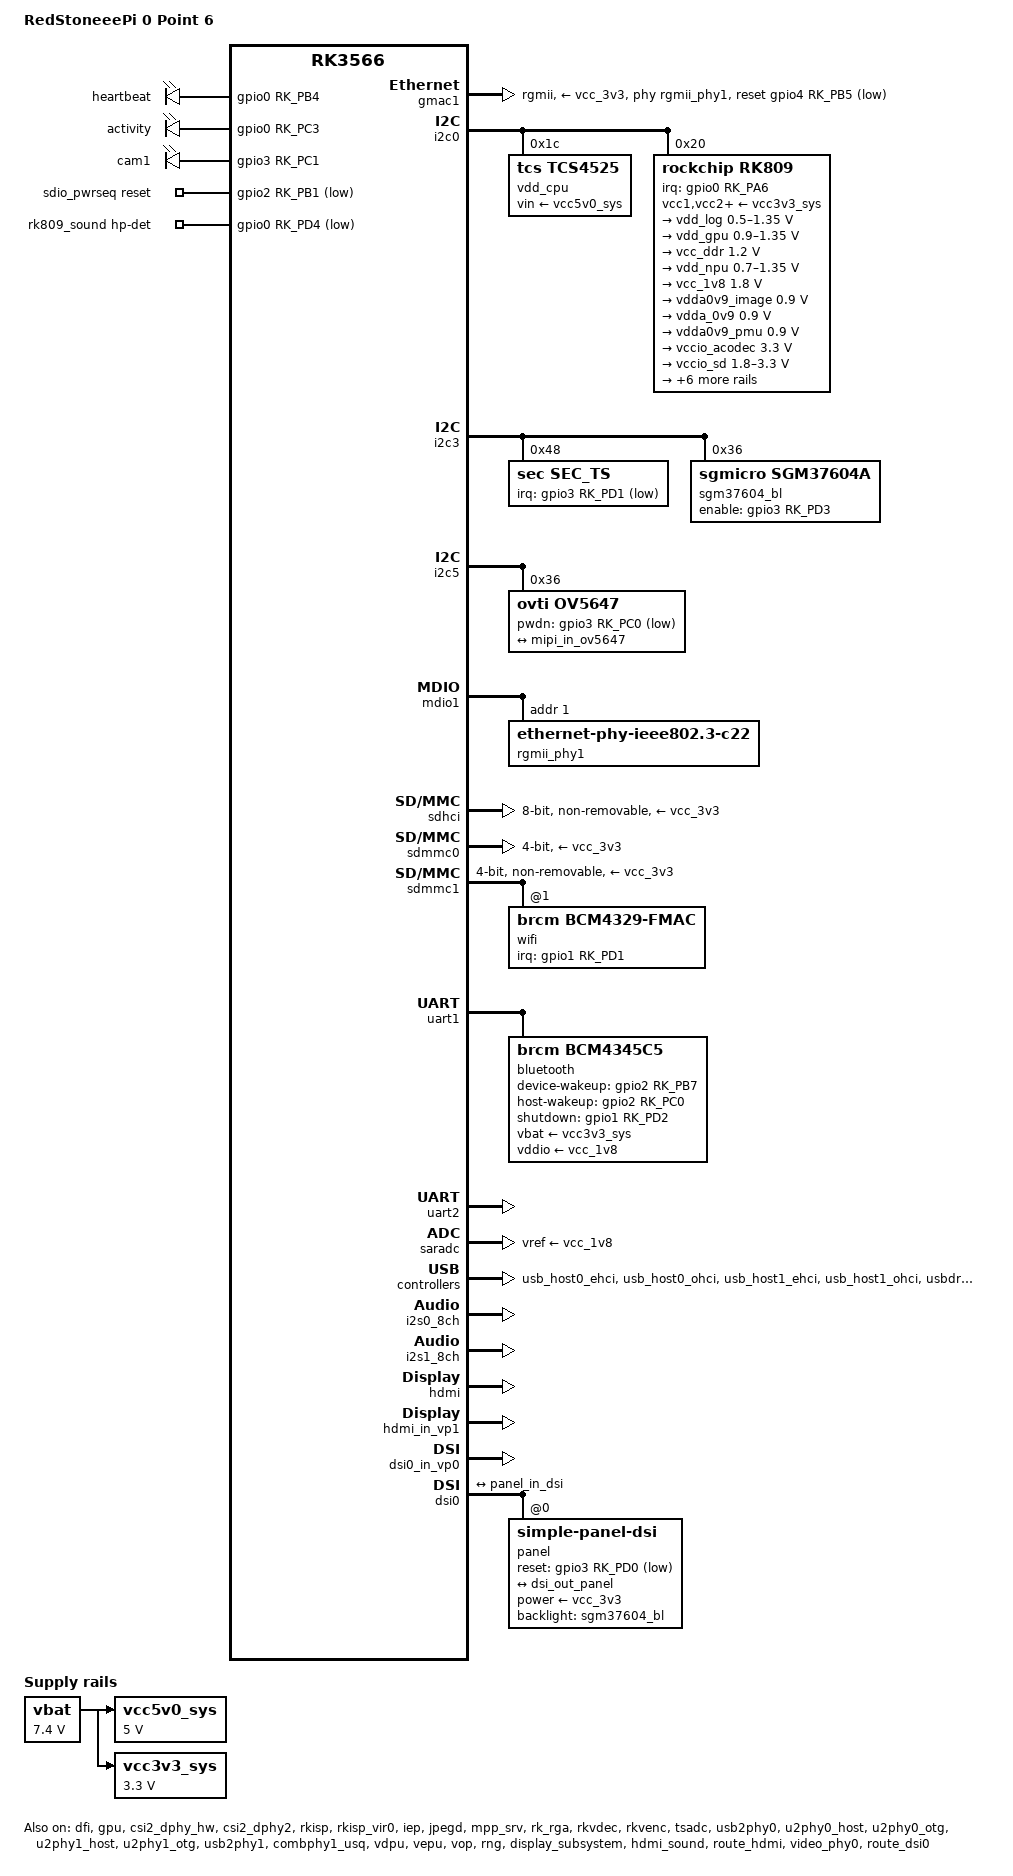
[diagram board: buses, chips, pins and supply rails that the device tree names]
// SPDX-License-Identifier: (GPL-2.0+ OR MIT)

/dts-v1/;

#include <dt-bindings/display/rockchip_vop.h>
#include <dt-bindings/gpio/gpio.h>
#include <dt-bindings/pwm/pwm.h>
#include <dt-bindings/pinctrl/rockchip.h>
#include <dt-bindings/input/rk-input.h>
#include <dt-bindings/display/drm_mipi_dsi.h>
#include <dt-bindings/sensor-dev.h>
#include <dt-bindings/leds/common.h>
#include "rk3566.dtsi"

/ {
	model = "RedStoneeePi 0 Point 6";
	compatible = "rockchip,rk3566";

	aliases {
		mmc0 = &sdmmc0;
		mmc1 = &sdhci;
		mmc2 = &sdmmc1;
	};

	chosen: chosen {
		stdout-path = "serial2:1500000n8";
	};

	leds {
		compatible = "gpio-leds";

		led-heartbeat {
			label = "heartbeat";
			default-state = "on";
			gpios = <&gpio0 RK_PB4 GPIO_ACTIVE_HIGH>;
			linux,default-trigger = "heartbeat";
			pinctrl-names = "default";
			pinctrl-0 = <&led_heartbeat_pin>;
			retain-state-suspended;
		};

		led-activity {
			label = "activity";
			gpios = <&gpio0 RK_PC3 GPIO_ACTIVE_HIGH>;
			pinctrl-names = "default";
			pinctrl-0 = <&led_activity_pin>;
			linux,default-trigger = "activity";
		};

		led-cam1 {
			label = "cam1";
			gpios = <&gpio3 RK_PC1 GPIO_ACTIVE_HIGH>;
			pinctrl-names = "default";
			pinctrl-0 = <&cam_led_pin>;
			default-state = "off";
		};
	};

	ov5647_clk: ov5647-clk {
		compatible = "fixed-clock";
		#clock-cells = <0>;
		clock-frequency = <25000000>;
		clock-output-names = "ov5647_xclk";
	};

	sdio_pwrseq: sdio-pwrseq {
		status = "okay";
		compatible = "mmc-pwrseq-simple";
		clocks = <&rk809 1>;
		clock-names = "ext_clock";
		pinctrl-names = "default";
		pinctrl-0 = <&wifi_enable_h>;
		reset-gpios = <&gpio2 RK_PB1 GPIO_ACTIVE_LOW>;
	};

	vbat: battery-supply {
		compatible = "regulator-fixed";
		regulator-name = "vbat";
		regulator-always-on;
		regulator-boot-on;
		regulator-min-microvolt = <7400000>;
		regulator-max-microvolt = <7400000>;
	};

	vcc5v0_sys: vcc5v0-sys-regulator {
		compatible = "regulator-fixed";
		regulator-name = "vcc5v0_sys";
		regulator-always-on;
		regulator-boot-on;
		regulator-min-microvolt = <5000000>;
		regulator-max-microvolt = <5000000>;
		vin-supply = <&vbat>;
	};

	vcc3v3_sys: vcc3v3-sys-regulator {
		compatible = "regulator-fixed";
		regulator-name = "vcc3v3_sys";
		regulator-min-microvolt = <3300000>;
		regulator-max-microvolt = <3300000>;
		regulator-always-on;
		vin-supply = <&vbat>;
	};

	rk809_sound: rk809-sound {
		status = "okay";
		compatible = "rockchip,multicodecs-card";
		rockchip,card-name = "rockchip-rk809";
		rockchip,format = "i2s";
		rockchip,mclk-fs = <256>;
		rockchip,cpu = <&i2s1_8ch>;
		rockchip,codec = <&rk809_codec>;
		hp-det-gpio = <&gpio0 RK_PD4 GPIO_ACTIVE_LOW>;
		pinctrl-names = "default";
		pinctrl-0 = <&hp_det>;
	};
};

&cpu0 {
	cpu-supply = <&vdd_cpu>;
};

&dfi {
	status = "okay";
};

&gpu {
	mali-supply = <&vdd_gpu>;
	status = "okay";
};

&gmac1 {
	clock_in_out = "output";
	phy-mode = "rgmii";
	phy-supply = <&vcc_3v3>;

	assigned-clocks = <&cru SCLK_GMAC1_RX_TX>, <&cru SCLK_GMAC1>, <&cru CLK_MAC1_OUT>;
	assigned-clock-parents = <&cru SCLK_GMAC1_RGMII_SPEED>;
	assigned-clock-rates = <0>, <125000000>, <25000000>;

	pinctrl-names = "default";
	pinctrl-0 = <&gmac1m1_miim
		     &gmac1m1_tx_bus2
		     &gmac1m1_rx_bus2
		     &gmac1m1_rgmii_clk
		     &gmac1m1_rgmii_bus
		     &eth1m1_pins>;
	snps,reset-gpio = <&gpio4 RK_PB5 GPIO_ACTIVE_LOW>;
	snps,reset-active-low;
	/* Reset time is 20ms, 100ms for rtl8211f */
	snps,reset-delays-us = <0 20000 100000>;
	tx_delay = <0x4f>;
	rx_delay = <0x24>;
	phy-handle = <&rgmii_phy1>;
	status = "okay";
};

&i2c0 {
	status = "okay";

	vdd_cpu: regulator@1c {
		compatible = "tcs,tcs4525";
		reg = <0x1c>;
		fcs,suspend-voltage-selector = <1>;
		regulator-name = "vdd_cpu";
		regulator-min-microvolt = <800000>;
		regulator-max-microvolt = <1150000>;
		regulator-ramp-delay = <2300>;
		regulator-always-on;
		regulator-boot-on;
		vin-supply = <&vcc5v0_sys>;

		regulator-state-mem {
			regulator-off-in-suspend;
		};
	};

	rk809: pmic@20 {
		compatible = "rockchip,rk809";
		reg = <0x20>;
		interrupt-parent = <&gpio0>;
		interrupts = <RK_PA6 IRQ_TYPE_LEVEL_LOW>;
		clock-output-names = "rk808-clkout1", "rk808-clkout2";
		rockchip,clk-32k-always-on;

		pinctrl-names = "default", "pmic-sleep",
				"pmic-power-off", "pmic-reset";
		pinctrl-0 = <&pmic_int>;
		pinctrl-1 = <&soc_slppin_slp>, <&rk817_slppin_slp>;
		pinctrl-2 = <&soc_slppin_gpio>, <&rk817_slppin_pwrdn>;
		pinctrl-3 = <&soc_slppin_gpio>, <&rk817_slppin_rst>;
		rockchip,system-power-controller;
		wakeup-source;
		#clock-cells = <1>;

		vcc1-supply = <&vcc3v3_sys>;
		vcc2-supply = <&vcc3v3_sys>;
		vcc3-supply = <&vcc3v3_sys>;
		vcc4-supply = <&vcc3v3_sys>;
		vcc5-supply = <&vcc3v3_sys>;
		vcc6-supply = <&vcc3v3_sys>;
		vcc7-supply = <&vcc3v3_sys>;
		vcc8-supply = <&vcc3v3_sys>;
		vcc9-supply = <&vcc3v3_sys>;

		pinctrl_rk8xx: pinctrl_rk8xx {
			gpio-controller;
			#gpio-cells = <2>;

			rk817_slppin_null: rk817_slppin_null {
				pins = "gpio_slp";
				function = "pin_fun0";
			};

			rk817_slppin_slp: rk817_slppin_slp {
				pins = "gpio_slp";
				function = "pin_fun1";
			};

			rk817_slppin_pwrdn: rk817_slppin_pwrdn {
				pins = "gpio_slp";
				function = "pin_fun2";
			};

			rk817_slppin_rst: rk817_slppin_rst {
				pins = "gpio_slp";
				function = "pin_fun3";
			};
		};

		regulators {
			vdd_log: DCDC_REG1 {
				regulator-name = "vdd_log";
				regulator-always-on;
				regulator-boot-on;
				regulator-min-microvolt = <500000>;
				regulator-max-microvolt = <1350000>;
				regulator-init-microvolt = <900000>;
				regulator-ramp-delay = <6001>;

				regulator-state-mem {
					regulator-on-in-suspend;
					regulator-suspend-microvolt = <900000>;
				};
			};

			vdd_gpu: DCDC_REG2 {
				regulator-name = "vdd_gpu";
				regulator-min-microvolt = <900000>;
				regulator-max-microvolt = <1350000>;
				regulator-init-microvolt = <900000>;
				regulator-ramp-delay = <6001>;

				regulator-state-mem {
					regulator-off-in-suspend;
					regulator-suspend-microvolt = <900000>;
				};
			};

			vcc_ddr: DCDC_REG3 {
				regulator-name = "vcc_ddr";
				regulator-always-on;
				regulator-boot-on;
				regulator-min-microvolt = <1200000>;
				regulator-max-microvolt = <1200000>;
				regulator-initial-mode = <0x2>;

				regulator-state-mem {
					regulator-on-in-suspend;
				};
			};

			vdd_npu: DCDC_REG4 {
				regulator-name = "vdd_npu";
				regulator-always-on;
				regulator-boot-on;
				regulator-min-microvolt = <700000>;
				regulator-max-microvolt = <1350000>;
				regulator-init-microvolt = <900000>;
				regulator-initial-mode = <0x2>;

				regulator-state-mem {
					regulator-off-in-suspend;
				};
			};

			vcc_1v8: DCDC_REG5 {
				regulator-name = "vcc_1v8";
				regulator-always-on;
				regulator-boot-on;
				regulator-min-microvolt = <1800000>;
				regulator-max-microvolt = <1800000>;

				regulator-state-mem {
					regulator-on-in-suspend;
					regulator-suspend-microvolt = <1800000>;
				};
			};

			vdda0v9_image: LDO_REG1 {
				regulator-name = "vdda0v9_image";
				regulator-always-on;
				regulator-boot-on;
				regulator-min-microvolt = <900000>;
				regulator-max-microvolt = <900000>;

				regulator-state-mem {
					regulator-on-in-suspend;
					regulator-suspend-microvolt = <900000>;
				};
			};

			vdda_0v9: LDO_REG2 {
				regulator-name = "vdda_0v9";
				regulator-always-on;
				regulator-boot-on;
				regulator-min-microvolt = <900000>;
				regulator-max-microvolt = <900000>;

				regulator-state-mem {
					regulator-on-in-suspend;
					regulator-suspend-microvolt = <900000>;
				};
			};

			vdda0v9_pmu: LDO_REG3 {
				regulator-name = "vdda0v9_pmu";
				regulator-always-on;
				regulator-boot-on;
				regulator-min-microvolt = <900000>;
				regulator-max-microvolt = <900000>;

				regulator-state-mem {
					regulator-on-in-suspend;
					regulator-suspend-microvolt = <900000>;
				};
			};

			vccio_acodec: LDO_REG4 {
				regulator-name = "vccio_acodec";
				regulator-always-on;
				regulator-boot-on;
				regulator-min-microvolt = <3300000>;
				regulator-max-microvolt = <3300000>;

				regulator-state-mem {
					regulator-on-in-suspend;
					regulator-suspend-microvolt = <3300000>;
				};
			};

			vccio_sd: LDO_REG5 {
				regulator-name = "vccio_sd";
				regulator-always-on;
				regulator-boot-on;
				regulator-min-microvolt = <1800000>;
				regulator-max-microvolt = <3300000>;

				regulator-state-mem {
					regulator-on-in-suspend;
					regulator-suspend-microvolt = <3300000>;
				};
			};

			vcc3v3_pmu: LDO_REG6 {
				regulator-name = "vcc3v3_pmu";
				regulator-always-on;
				regulator-boot-on;
				regulator-min-microvolt = <3300000>;
				regulator-max-microvolt = <3300000>;

				regulator-state-mem {
					regulator-on-in-suspend;
					regulator-suspend-microvolt = <3300000>;
				};
			};

			vcca_1v8: LDO_REG7 {
				regulator-name = "vcca_1v8";
				regulator-always-on;
				regulator-boot-on;
				regulator-min-microvolt = <1800000>;
				regulator-max-microvolt = <1800000>;

				regulator-state-mem {
					regulator-on-in-suspend;
					regulator-suspend-microvolt = <1800000>;
				};
			};

			vcca1v8_pmu: LDO_REG8 {
				regulator-name = "vcca1v8_pmu";
				regulator-always-on;
				regulator-boot-on;
				regulator-min-microvolt = <1800000>;
				regulator-max-microvolt = <1800000>;

				regulator-state-mem {
					regulator-on-in-suspend;
					regulator-suspend-microvolt = <1800000>;
				};
			};

			vcca1v8_image: LDO_REG9 {
				regulator-name = "vcca1v8_image";
				regulator-always-on;
				regulator-boot-on;
				regulator-min-microvolt = <1800000>;
				regulator-max-microvolt = <1800000>;

				regulator-state-mem {
					regulator-on-in-suspend;
					regulator-suspend-microvolt = <1800000>;
				};
			};

			vcc_3v3: SWITCH_REG1 {
				regulator-boot-on;
				regulator-name = "vcc3v3";
			};

			vcc3v3_sd: SWITCH_REG2 {
				regulator-name = "vcc3v3_sd";
				regulator-always-on;
				regulator-boot-on;
			};
		};

		rk809_codec: codec {
			#sound-dai-cells = <0>;
			compatible = "rockchip,rk817-codec";
			clocks = <&cru I2S1_MCLKOUT>;
			clock-names = "mclk";
			assigned-clocks = <&cru I2S1_MCLKOUT>, <&cru I2S1_MCLK_TX_IOE>;
			assigned-clock-rates = <12288000>;
			assigned-clock-parents = <&cru I2S1_MCLKOUT_TX>, <&cru I2S1_MCLKOUT_TX>;
			pinctrl-names = "default";
			pinctrl-0 = <&i2s1m0_mclk>;
			hp-volume = <20>;
			spk-volume = <3>;
			status = "okay";
		};

		battery {
			compatible = "rk817,battery";
			ocv_table = <7000 7250 7370 7384 7436 7470 7496
				     7520 7548 7576 7604 7632 7668 7706
				     7754 7816 7892 7950 8036 8142 8212>;
			design_capacity = <2000>;
			design_qmax = <2200>;
			bat_res = <100>;
			sample_res = <10>;
			bat_res_up = <120>;
			bat_res_down = <15>;
			design_max_voltage = <8400>;
			power_off_thresdhold = <6600>;
		};
	};
};

&i2c3 {
	pinctrl-names = "default";
	pinctrl-0 = <&i2c3m1_xfer>;
	status = "okay";

	sec_ts: sec_ts@48 {
		status = "okay";
		compatible = "sec,sec_ts";
		reg = <0x48>;
		pinctrl-names = "default";
		pinctrl-0 = <&ts_irq>;
		sec,irq_gpio = <&gpio3 RK_PD1 GPIO_ACTIVE_LOW>;
		sec,max_coords = <1080>, <2160>;
	};

	sgm37604_bl: backlight@36 {
		status = "okay";
		compatible = "sgmicro,sgm37604a";
		reg = <0x36>;
		sgmicro,led-channels = <0x07>;
		sgmicro,max-current = <0>;
		default-brightness-level = <1000>;
		enable-gpios = <&gpio3 RK_PD3 GPIO_ACTIVE_HIGH>;
	};
};

&i2c5 {
	pinctrl-names = "default";
	pinctrl-0 = <&i2c5m0_xfer>;
	status = "okay";

	ov5647: camera@36 {
		compatible = "ovti,ov5647";
		reg = <0x36>;
		clocks = <&ov5647_clk>;
		/* GPIO3_C0 is the module enable pin (active high). */
		pwdn-gpios = <&gpio3 RK_PC0 GPIO_ACTIVE_LOW>;
		pinctrl-names = "default";
		pinctrl-0 = <&cam_pwdn_pin>;
		rockchip,camera-module-index = <0>;
		rockchip,camera-module-facing = "back";
		rockchip,camera-module-name = "ov5647";
		rockchip,camera-module-lens-name = "default";

		port {
			ov5647_out: endpoint {
				remote-endpoint = <&mipi_in_ov5647>;
				data-lanes = <1 2>;
				clock-noncontinuous;
			};
		};
	};
};

&csi2_dphy_hw {
	status = "okay";
};

&csi2_dphy2 {
	status = "okay";

	ports {
		#address-cells = <1>;
		#size-cells = <0>;

		port@0 {
			reg = <0>;
			#address-cells = <1>;
			#size-cells = <0>;

			mipi_in_ov5647: endpoint@1 {
				reg = <1>;
				remote-endpoint = <&ov5647_out>;
				data-lanes = <1 2>;
			};
		};

		port@1 {
			reg = <1>;
			#address-cells = <1>;
			#size-cells = <0>;

			dphy2_out: endpoint@1 {
				reg = <1>;
				remote-endpoint = <&isp_in_dphy2>;
			};
		};
	};
};

&rkisp {
	status = "okay";
};

&rkisp_mmu {
	status = "okay";
};

&rkisp_vir0 {
	status = "okay";

	port {
		#address-cells = <1>;
		#size-cells = <0>;

		isp_in_dphy2: endpoint@0 {
			reg = <0>;
			remote-endpoint = <&dphy2_out>;
		};
	};
};

&mdio1 {
	rgmii_phy1: ethernet-phy@1 {
		compatible = "ethernet-phy-ieee802.3-c22";
		clocks = <&cru CLK_MAC1_OUT>;
		reg = <0x1>;
	};
};

&pinctrl {
	bt {
		bt_enable_h: bt-enable-h {
			rockchip,pins = <1 RK_PD2 RK_FUNC_GPIO &pcfg_pull_none>;
		};

		bt_host_wake_l: bt-host-wake-l {
			rockchip,pins = <2 RK_PC0 RK_FUNC_GPIO &pcfg_pull_down>;
		};

		bt_wake_l: bt-wake-l {
			rockchip,pins = <2 RK_PB7 RK_FUNC_GPIO &pcfg_pull_none>;
		};
	};

	headphone {
		hp_det: hp-det {
			rockchip,pins = <0 RK_PD4 RK_FUNC_GPIO &pcfg_pull_up>;
		};
	};

	leds {
		led_heartbeat_pin: heartbeat-led-pin {
			rockchip,pins = <0 RK_PB4 RK_FUNC_GPIO &pcfg_pull_none>;
		};

		led_activity_pin: activity-led-pin {
			rockchip,pins = <0 RK_PC3 RK_FUNC_GPIO &pcfg_pull_none>;
		};
	};

	camera {
		cam_pwdn_pin: cam-pwdn-pin {
			rockchip,pins = <3 RK_PC0 RK_FUNC_GPIO &pcfg_pull_none>;
		};

		cam_led_pin: cam-led-pin {
			rockchip,pins = <3 RK_PC1 RK_FUNC_GPIO &pcfg_pull_none>;
		};
	};

	pmic {
		pmic_int: pmic_int {
			rockchip,pins = <0 RK_PA6 RK_FUNC_GPIO &pcfg_pull_up>;
		};

		soc_slppin_gpio: soc_slppin_gpio {
			rockchip,pins = <0 RK_PA2 RK_FUNC_GPIO &pcfg_output_low_pull_down>;
		};

		soc_slppin_slp: soc_slppin_slp {
			rockchip,pins = <0 RK_PA2 1 &pcfg_pull_up>;
		};

		soc_slppin_rst: soc_slppin_rst {
			rockchip,pins = <0 RK_PA2 2 &pcfg_pull_none>;
		};
	};

	sdio-pwrseq {
		wifi_enable_h: wifi-enable-h {
			rockchip,pins = <2 RK_PB1 RK_FUNC_GPIO &pcfg_pull_none>;
		};

		wifi_host_wake_l: wifi-host-wake-l {
			rockchip,pins = <1 RK_PD1 RK_FUNC_GPIO &pcfg_pull_up>;
		};
	};

	usb {
		vcc5v0_usb30_host_en_h: vcc5v0-usb30-host-en_h {
			rockchip,pins = <0 RK_PC5 RK_FUNC_GPIO &pcfg_pull_none>;
		};

		vcc5v0_usb_otg_en_h: vcc5v0-usb-otg-en_h {
			rockchip,pins = <0 RK_PC6 RK_FUNC_GPIO &pcfg_pull_none>;
		};
	};

	dsi0-lcd {
		lcd_reset_pin: lcd-reset-pin {
			rockchip,pins = <3 RK_PD0 RK_FUNC_GPIO &pcfg_pull_up>;
		};
	};

	ts {
		ts_irq: ts_irq {
			rockchip,pins = <3 RK_PD1 RK_FUNC_GPIO &pcfg_pull_up>;
		};
	};
};

&pmu_io_domains {
	status = "okay";
	pmuio1-supply = <&vcc3v3_pmu>;
	pmuio2-supply = <&vcc3v3_pmu>;
	vccio1-supply = <&vccio_acodec>;
	vccio2-supply = <&vcc_1v8>;
	vccio3-supply = <&vcc_3v3>;
	vccio4-supply = <&vcc_1v8>;
	vccio5-supply = <&vcc_3v3>;
	vccio6-supply = <&vcc_3v3>;
	vccio7-supply = <&vcc_3v3>;
};

&sdhci {
	bus-width = <8>;
	mmc-hs200-1_8v;
	non-removable;
	vmmc-supply = <&vcc_3v3>;
	vqmmc-supply = <&vcc_1v8>;
	status = "okay";
};

&sdmmc0 {
	no-sdio;
	no-mmc;
	bus-width = <4>;
	cap-mmc-highspeed;
	cap-sd-highspeed;
	disable-wp;

	pinctrl-names = "default";
	pinctrl-0 = <&sdmmc0_bus4 &sdmmc0_clk &sdmmc0_cmd &sdmmc0_det>;
	vmmc-supply = <&vcc_3v3>;
	vqmmc-supply = <&vcc_3v3>;
	status = "okay";
};

&sdmmc1 {

	bus-width = <4>;
	cap-sd-highspeed;
	supports-sdio;
	cap-sdio-irq;
	disable-wp;
	non-removable;
	keep-power-in-suspend;
	sd-uhs-sdr104;
	rockchip,default-sample-phase = <90>;
	mmc-pwrseq = <&sdio_pwrseq>;
	vmmc-supply = <&vcc_3v3>;
	vqmmc-supply = <&vcc_1v8>;
	pinctrl-names = "default";
	pinctrl-0 = <&sdmmc1_bus4 &sdmmc1_cmd &sdmmc1_clk>;
	status = "okay";

	#address-cells = <1>;
	#size-cells = <0>;

	wifi@1 {
		compatible = "brcm,bcm4329-fmac";
		reg = <1>;
		interrupt-parent = <&gpio1>;
		interrupts = <RK_PD1 IRQ_TYPE_LEVEL_LOW>;
		interrupt-names = "host-wake";
		pinctrl-names = "default";
		pinctrl-0 = <&wifi_host_wake_l>;
	};
};

&uart1 {
	pinctrl-names = "default";
	pinctrl-0 = <&uart1m0_xfer &uart1m0_ctsn &uart1m0_rtsn>;
	status = "okay";
	uart-has-rtscts;

	bluetooth {
		compatible = "brcm,bcm4345c5";
		clocks = <&rk809 1>;
		clock-names = "lpo";
		device-wakeup-gpios = <&gpio2 RK_PB7 GPIO_ACTIVE_HIGH>;
		host-wakeup-gpios = <&gpio2 RK_PC0 GPIO_ACTIVE_HIGH>;
		shutdown-gpios = <&gpio1 RK_PD2 GPIO_ACTIVE_HIGH>;
		max-speed = <1500000>;
		pinctrl-names = "default";
		pinctrl-0 = <&bt_host_wake_l &bt_wake_l &bt_enable_h>;
		vbat-supply = <&vcc3v3_sys>;
		vddio-supply = <&vcc_1v8>;
	};
};

&uart2 {
	status = "okay";
};

&iep {
	status = "okay";
};

&iep_mmu {
	status = "okay";
};

&jpegd {
	status = "okay";
};

&jpegd_mmu {
	status = "okay";
};

&mpp_srv {
	status = "okay";
};

&rk_rga {
	status = "okay";
};

&rkvdec {
	status = "okay";
	vdec-supply = <&vdd_log>;
};

&rkvdec_mmu {
	status = "okay";
};

&rkvenc {
	venc-supply = <&vdd_log>;
	status = "okay";
};

&rkvenc_mmu {
	status = "okay";
};

&rknpu {
	rknpu-supply = <&vdd_npu>;
};

&saradc {
	status = "okay";
	vref-supply = <&vcc_1v8>;
};

&tsadc {
	status = "okay";
};

&usb2phy0 {
	status = "okay";
};

&u2phy0_host {
	status = "okay";
};

&u2phy0_otg {
	status = "okay";
};

&u2phy1_host {
	status = "okay";
};

&u2phy1_otg {
	status = "okay";
};

&usb_host0_ehci {
	status = "okay";
};

&usb_host0_ohci {
	status = "okay";
};

&usb2phy1 {
	status = "okay";
};

&usb_host1_ehci {
	status = "okay";
};

&usb_host1_ohci {
	status = "okay";
};

&combphy1_usq {
	status = "okay";
};

&usbdrd30 {
	status = "okay";
};

&usbhost_dwc3 {
	status = "okay";
};

&usbhost30 {
	status = "okay";
};

&u2phy0_otg {
	status = "okay";
};

&usbdrd_dwc3 {
	status = "okay";
};

&vdpu {
	status = "okay";
};

&vdpu_mmu {
	status = "okay";
};

&vepu {
	status = "okay";
};

&vepu_mmu {
	status = "okay";
};

&vop {
	status = "okay";
	assigned-clocks = <&cru DCLK_VOP0>, <&cru DCLK_VOP1>;
	assigned-clock-parents = <&cru PLL_VPLL>, <&pmucru PLL_HPLL>;
};

&vop_mmu {
	status = "okay";
};

&rockchip_suspend {
	status = "okay";
	rockchip,sleep-debug-en = <1>;
	rockchip,sleep-mode-config = <(0 | RKPM_SLP_CENTER_OFF | RKPM_SLP_HW_PLLS_OFF |
				       RKPM_SLP_PMUALIVE_32K | RKPM_SLP_32K_PVTM)>;
	rockchip,wakeup-config = <(0 | RKPM_GPIO_WKUP_EN | RKPM_USB_WKUP_EN)>;
};

&rng {
	status = "okay";
};

&i2s0_8ch {
	status = "okay";
};

&i2s1_8ch {
	status = "okay";
	rockchip,trcm-sync-tx-only;
	pinctrl-names = "default";
	pinctrl-0 = <&i2s1m0_sclktx &i2s1m0_lrcktx &i2s1m0_sdi0 &i2s1m0_sdo0>;
};

&display_subsystem {
	status = "okay";
};

&hdmi {
	status = "okay";
	preset_max_hdisplay = <1920>;
	preset_max_vdisplay = <1080>;
};

&hdmi_in_vp1 {
	status = "okay";
};

&hdmi_sound {
	status = "okay";
};

&route_hdmi {
	status = "okay";
	connect = <&vp1_out_hdmi>;
};

&dsi0_in_vp0 {
	status = "okay";
};

&video_phy0 {
	status = "okay";
};

&route_dsi0 {
	status = "okay";
	connect = <&vp0_out_dsi0>;
};

&dsi0 {
	status = "okay";

	panel@0 {
		compatible = "simple-panel-dsi";
		reg = <0>;
		status = "okay";

		backlight = <&sgm37604_bl>;
		power-supply = <&vcc_3v3>;
		reset-gpios = <&gpio3 RK_PD0 GPIO_ACTIVE_LOW>;

		pinctrl-names = "default";
		pinctrl-0 = <&lcd_reset_pin>;

		prepare-delay-ms = <40>;
		reset-delay-ms = <60>;
		init-delay-ms = <80>;
		stbyb-delay-ms = <20>;
		enable-delay-ms = <60>;
		disable-delay-ms = <20>;
		unprepare-delay-ms = <20>;
		rotation = <90>;
		width-mm = <135>;
		height-mm = <216>;
		dsi,flags = <(MIPI_DSI_MODE_VIDEO | MIPI_DSI_MODE_VIDEO_BURST |
			      MIPI_DSI_MODE_LPM | MIPI_DSI_MODE_NO_EOT_PACKET | MIPI_DSI_CLOCK_NON_CONTINUOUS)>;
		dsi,format = <MIPI_DSI_FMT_RGB888>;
		dsi,lanes = <4>;
		panel-init-sequence = [05 78 01 11
				       05 0a 01 29];

		panel-exit-sequence = [05 10 01 28
				       05 78 01 10];

		disp_timings0: display-timings {
			native-mode = <&dsi_timing0>;

			dsi_timing0: timing0 {
				clock-frequency = <157000000>;
				hactive = <1080>;
				hfront-porch = <115>;
				hback-porch = <13>;
				hsync-len = <3>;
				vactive = <2160>;
				vfront-porch = <10>;
				vback-porch = <10>;
				vsync-len = <2>;
				hsync-active = <0>;
				vsync-active = <0>;
				de-active = <0>;
				pixelclk-active = <0>;
			};
		};

		ports {
			#address-cells = <1>;
			#size-cells = <0>;

			port@0 {
				reg = <0>;

				panel_in_dsi: endpoint {
					remote-endpoint = <&dsi_out_panel>;
				};
			};
		};
	};

	ports {
		#address-cells = <1>;
		#size-cells = <0>;

		port@1 {
			reg = <1>;

			dsi_out_panel: endpoint {
				remote-endpoint = <&panel_in_dsi>;
			};
		};
	};
};
